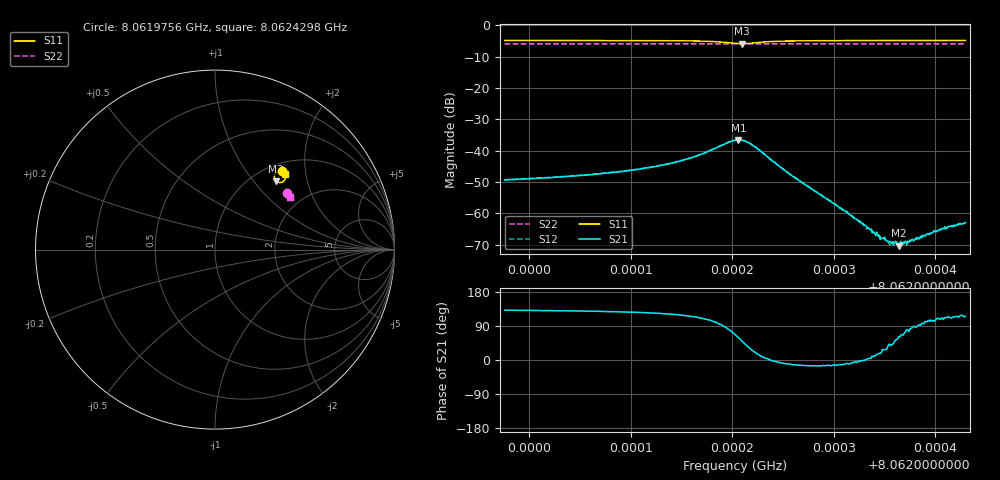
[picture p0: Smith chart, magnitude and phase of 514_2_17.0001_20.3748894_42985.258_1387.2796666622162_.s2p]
#  HZ  S  RI  R  50.00
! Rohde & Schwarz Vector Network Analyzer
! Rohde-Schwarz,ZNB20-2Port,1311601062101988,3.16
! Created: UTC 3/20/2024, 11:15:07 PM
! freq[Hz]  re:S11  im:S11  re:S21  im:S21  re:S12  im:S12  re:S22  im:S22
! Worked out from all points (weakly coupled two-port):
!   401 points, 8.0619756 GHz to 8.0624298 GHz, reference 50 ohm
!   highest |S21| = -36.60 dB at 8.0622061 GHz (marker M1); lowest = -70.3 dB at 8.062364 GHz (marker M2)
!   lowest |S11| = -5.8 dB at 8.0622095 GHz (marker M3), VSWR 3.09, Z = 63.7 + j65.8 ohm
!   |S11| at or under -10 dB: nowhere
!   |S22| runs from -5.9 to -5.8 dB; largest |S21 - S12| = 0.00098
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8.06197562e9  0.3753 0.437  -0.00225 0.00253  -0.00212 0.00277  0.4027 0.3129
8.0620517e9  0.3814 0.4312  -0.00254 0.00312  -0.00237 0.00333  0.4055 0.3088
8.06208917e9  0.3849 0.4271  -0.00277 0.00367  -0.00258 0.00388  0.4069 0.3071
8.06212778e9  0.3891 0.4205  -0.00314 0.0048  -0.00285 0.00503  0.4083 0.3048
8.06216071e9  0.3927 0.4087  -0.00325 0.00712  -0.00286 0.00731  0.4093 0.3026
8.06218682e9  0.3872 0.3865  -0.0011 0.0115  -0.000524 0.0117  0.4097 0.3004
8.06220272e9  0.3587 0.3734  0.0057 0.0135  0.00649 0.0132  0.4088 0.2996
8.06220613e9  0.3497 0.3757  0.00754 0.0127  0.00836 0.0124  0.4088 0.2996
8.06220953e9  0.3412 0.3811  0.00942 0.0112  0.0101 0.0108  0.4084 0.2999
8.06222089e9  0.3307 0.4088  0.0109 0.00475  0.0113 0.00414  0.4087 0.3007
8.06225268e9  0.358 0.4355  0.00463 -0.000774  0.00464 -0.00106  0.4113 0.2999
8.0622788e9  0.37 0.435  0.00232 -0.000629  0.00234 -0.000817  0.4128 0.2985
8.06231286e9  0.3778 0.4321  0.00103 -0.000161  0.00104 -0.000267  0.4141 0.2967
8.06234579e9  0.3826 0.4294  0.000367 0.000116  0.000413 0.000118  0.4155 0.2948
8.06235034e9  0.3831 0.4289  0.000338 0.000171  0.000369 0.000198  0.4157 0.2946
8.06235488e9  0.3836 0.4287  0.000264 0.000238  0.000275 0.000176  0.4157 0.2943
8.06235715e9  0.3839 0.4286  0.000252 0.000211  0.000276 0.0002  0.4158 0.2944
8.06235942e9  0.3842 0.4283  0.000234 0.000239  0.000238 0.000196  0.4159 0.294
8.06236396e9  0.3847 0.4281  0.000144 0.000268  0.000157 0.000266  0.4161 0.2938
8.06237418e9  0.3858 0.4273  9.17e-05 0.000336  8.73e-05 0.00038  0.4165 0.2934
8.06240484e9  0.3886 0.4252  -0.00016 0.000515  -0.000164 0.000521  0.4176 0.2918
8.06242982e9  0.3905 0.4236  -0.000306 0.00064  -0.000328 0.000644  0.4184 0.2903
